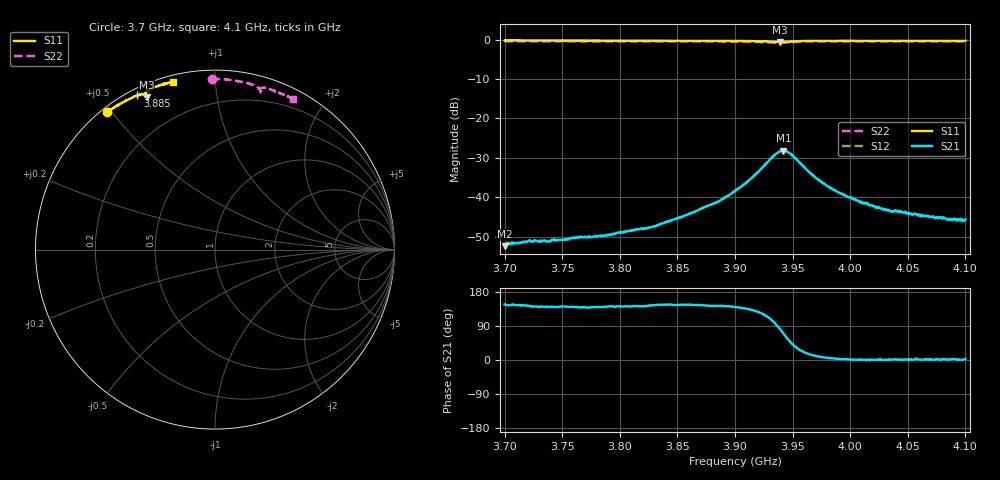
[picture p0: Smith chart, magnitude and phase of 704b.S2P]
! ZVC, 3.52
! symbol freq-unit parameter-type data-format keyword impedance-ohm
#  HZ  S  DB  R  50
! freq  dbS11  angS11  dbS21  angS21  dbS12  angS12  dbS22  angS22
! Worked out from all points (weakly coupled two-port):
!   401 points, 3.7 GHz to 4.1 GHz, reference 50 ohm
!   highest |S21| = -28.18 dB at 3.942 GHz (marker M1); lowest = -52.4 dB at 3.7 GHz (marker M2)
!   lowest |S11| = -0.6 dB at 3.939 GHz (marker M3), VSWR 27.95, Z = 2.54 + j32.3 ohm
!   |S11| at or under -10 dB: nowhere
!   |S22| runs from -0.8 to -0.4 dB; largest |S21 - S12| = 0.00053
!   S11 on the Smith chart (normalised r, x): 3.7 GHz: 0.02, +0.49; 3.885 GHz: 0.03, +0.62; 4.1 GHz: 0.03, +0.78
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3.7e9  -0.24 128.1  -52.38 146.6  -51.91 146.5  -0.45 91.1
3.72e9  -0.25 126.7  -51.22 143.9  -51.09 142.7  -0.45 89.6
3.738e9  -0.26 126.1  -51.08 140.8  -50.89 140.7  -0.44 88.3
3.767e9  -0.27 124.3  -49.98 139.8  -50.16 139.8  -0.45 86.1
3.794e9  -0.28 123.0  -49.37 141.4  -49.33 141.2  -0.46 84.1
3.823e9  -0.30 121.0  -47.80 142.3  -47.72 142.7  -0.48 81.9
3.834e9  -0.30 120.5  -46.93 145.0  -46.89 145.4  -0.47 81.1
3.854e9  -0.31 119.1  -45.04 145.8  -44.90 145.8  -0.49 79.6
3.885e9  -0.34 116.8  -41.12 142.8  -41.16 143.2  -0.52 77.2
3.9e9  -0.35 116.0  -38.35 140.3  -38.35 140.0  -0.55 75.9
3.911e9  -0.39 115.1  -35.98 134.8  -35.96 134.7  -0.59 75.0
3.933e9  -0.57 113.8  -29.65 102.4  -29.62 102.2  -0.81 74.0
3.939e9  -0.62 114.2  -28.37 81.9  -28.34 81.9  -0.84 74.4
3.942e9  -0.61 114.3  -28.18 69.9  -28.13 69.8  -0.82 74.7
3.949e9  -0.49 114.4  -29.18 44.2  -29.13 44.2  -0.69 74.8
3.967e9  -0.32 113.1  -34.29 13.2  -34.18 13.1  -0.49 72.8
3.981e9  -0.31 111.8  -37.32 5.5  -37.22 5.0  -0.49 71.5
3.996e9  -0.30 110.5  -39.62 2.3  -39.57 1.6  -0.50 70.2
4.022e9  -0.31 108.9  -42.62 0.5  -42.32 0.2  -0.51 68.3
4.034e9  -0.31 108.0  -43.32 2.4  -43.22 2.4  -0.51 67.4
4.086e9  -0.32 105.0  -45.47 0.2  -45.74 1.1  -0.48 63.5
4.1e9  -0.32 104.1  -45.64 3.2  -45.83 1.9  -0.48 62.5
